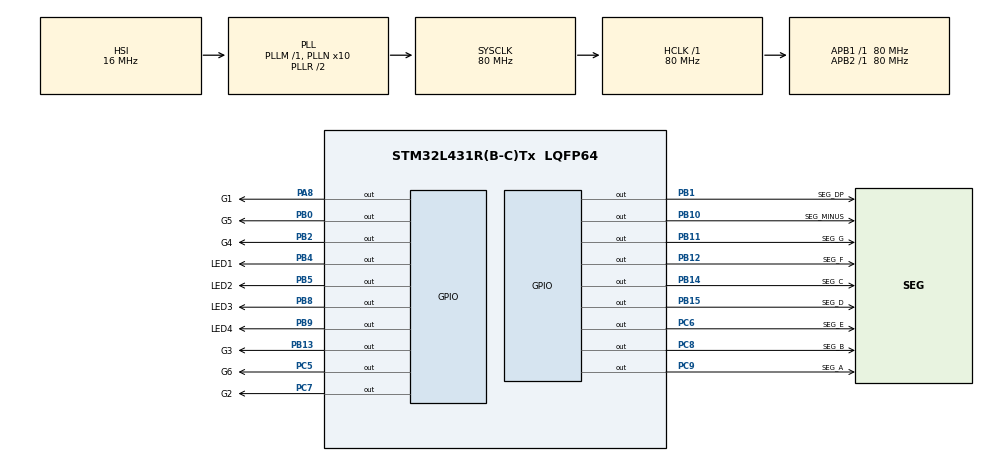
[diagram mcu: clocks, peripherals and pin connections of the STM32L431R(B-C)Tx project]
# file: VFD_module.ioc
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Mcu.Family=STM32L4
Mcu.Name=STM32L431R(B-C)Tx
Mcu.Package=LQFP64
NVIC.PriorityGroup=NVIC_PRIORITYGROUP_4
PA13\ (JTMS-SWDIO).Mode=Trace_Asynchronous_SW
PA13\ (JTMS-SWDIO).Signal=SYS_JTMS-SWDIO
PA14\ (JTCK-SWCLK).Mode=Trace_Asynchronous_SW
PA14\ (JTCK-SWCLK).Signal=SYS_JTCK-SWCLK
PA8.GPIO_Label=G1
PA8.Signal=GPIO_Output
PB0.GPIO_Label=G5
PB0.Signal=GPIO_Output
PB1.GPIO_Label=SEG_DP
PB1.Signal=GPIO_Output
PB10.GPIO_Label=SEG_MINUS
PB10.Signal=GPIO_Output
PB11.GPIO_Label=SEG_G
PB11.Signal=GPIO_Output
PB12.GPIO_Label=SEG_F
PB12.Signal=GPIO_Output
PB13.GPIO_Label=G3
PB13.Signal=GPIO_Output
PB14.GPIO_Label=SEG_C
PB14.Signal=GPIO_Output
PB15.GPIO_Label=SEG_D
PB15.Signal=GPIO_Output
PB2.GPIO_Label=G4
PB2.Signal=GPIO_Output
PB3\ (JTDO-TRACESWO).Mode=Trace_Asynchronous_SW
PB3\ (JTDO-TRACESWO).Signal=SYS_JTDO-SWO
PB4\ (NJTRST).GPIO_Label=LED1
PB4\ (NJTRST).Signal=GPIO_Output
PB5.GPIO_Label=LED2
PB5.Signal=GPIO_Output
PB8.GPIO_Label=LED3
PB8.Signal=GPIO_Output
PB9.GPIO_Label=LED4
PB9.Signal=GPIO_Output
PC14-OSC32_IN\ (PC14).Mode=LSE-External-Oscillator
PC14-OSC32_IN\ (PC14).Signal=RCC_OSC32_IN
PC15-OSC32_OUT\ (PC15).Mode=LSE-External-Oscillator
PC15-OSC32_OUT\ (PC15).Signal=RCC_OSC32_OUT
PC5.GPIO_Label=G6
PC5.Signal=GPIO_Output
PC6.GPIO_Label=SEG_E
PC6.Signal=GPIO_Output
PC7.GPIO_Label=G2
PC7.Signal=GPIO_Output
PC8.GPIO_Label=SEG_B
PC8.Signal=GPIO_Output
PC9.GPIO_Label=SEG_A
PC9.Signal=GPIO_Output
ProjectManager.HeapSize=0x200
ProjectManager.StackSize=0x400
ProjectManager.TargetToolchain=STM32CubeIDE
RCC.ADCFreq_Value=80000000
RCC.AHBFreq_Value=80000000
RCC.APB1Freq_Value=80000000
RCC.APB1TimFreq_Value=80000000
RCC.APB2Freq_Value=80000000
RCC.APB2TimFreq_Value=80000000
RCC.CortexFreq_Value=80000000
RCC.HCLKFreq_Value=80000000
RCC.HSE_VALUE=8000000
RCC.HSI48_VALUE=48000000
RCC.HSI_VALUE=16000000
RCC.MSI_VALUE=4000000
RCC.PLLN=10
RCC.PLLSAI1N=10
RCC.PLLSourceVirtual=RCC_PLLSOURCE_HSI
RCC.RTCClockSelection=RCC_RTCCLKSOURCE_LSE
RCC.SYSCLKFreq_VALUE=80000000
RCC.SYSCLKSource=RCC_SYSCLKSOURCE_PLLCLK
RCC.VCOOutputFreq_Value=160000000
TIM2.Period=0xFFFF
TIM2.Prescaler=79
VP_RTC_VS_RTC_Activate.Mode=RTC_Enabled
VP_TIM2_VS_ClockSourceINT.Mode=Internal
board=custom

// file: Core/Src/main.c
/* USER CODE BEGIN Header */
/**
 ******************************************************************************
 * @file           : main.c
 * @brief          : Main program body
 ******************************************************************************
 * @attention
 *
 * Copyright (c) 2024 STMicroelectronics.
 * All rights reserved.
 *
 * This software is licensed under terms that can be found in the LICENSE file
 * in the root directory of this software component.
 * If no LICENSE file comes with this software, it is provided AS-IS.
 *
 ******************************************************************************
 */
/* USER CODE END Header */
#include "main.h"

RTC_HandleTypeDef hrtc;

TIM_HandleTypeDef htim2;

/* USER CODE BEGIN PV */
uint8_t segmentPatterns[16] = {
		0x3F, // 0: 0111111
		0x06, // 1: 0000110
		0x5B, // 2: 1011011
		0x4F, // 3: 1001111
		0x66, // 4: 1100110
		0x6D, // 5: 1101101
		0x7D, // 6: 1111101
		0x07, // 7: 0000111
		0x7F, // 8: 1111111
		0x6F, // 9: 1101111
		0x77, // A: 1110111
		0x7C, // B: 1111100
		0x39, // C: 0111001
		0x5E, // D: 1011110
		0x79, // E: 1111001
		0x71  // F: 1110001
};
void litBit(uint8_t data){
	HAL_GPIO_WritePin(SEG_A_GPIO_Port, SEG_A_Pin, (data & 0x01) ? GPIO_PIN_SET : GPIO_PIN_RESET);
	HAL_GPIO_WritePin(SEG_B_GPIO_Port, SEG_B_Pin, (data & 0x02) ? GPIO_PIN_SET : GPIO_PIN_RESET);
	HAL_GPIO_WritePin(SEG_C_GPIO_Port, SEG_C_Pin, (data & 0x04) ? GPIO_PIN_SET : GPIO_PIN_RESET);
	HAL_GPIO_WritePin(SEG_D_GPIO_Port, SEG_D_Pin, (data & 0x08) ? GPIO_PIN_SET : GPIO_PIN_RESET);
	HAL_GPIO_WritePin(SEG_E_GPIO_Port, SEG_E_Pin, (data & 0x10) ? GPIO_PIN_SET : GPIO_PIN_RESET);
	HAL_GPIO_WritePin(SEG_F_GPIO_Port, SEG_F_Pin, (data & 0x20) ? GPIO_PIN_SET : GPIO_PIN_RESET);
	HAL_GPIO_WritePin(SEG_G_GPIO_Port, SEG_G_Pin, (data & 0x40) ? GPIO_PIN_SET : GPIO_PIN_RESET);
	HAL_GPIO_WritePin(SEG_DP_GPIO_Port, SEG_DP_Pin, (data & 0x80) ? GPIO_PIN_SET : GPIO_PIN_RESET);
}

void displayNumber(uint8_t number){
	if (0 <= number && number <= 0x0F){
		litBit(segmentPatterns[number]);
	}
}

void enableDigit(uint8_t digit){
	switch(digit){
	case 0:
		HAL_GPIO_WritePin(G1_GPIO_Port, G1_Pin, GPIO_PIN_SET);
		break;
	case 1:
		HAL_GPIO_WritePin(G2_GPIO_Port, G2_Pin, GPIO_PIN_SET);
		break;
	case 2:
		HAL_GPIO_WritePin(G3_GPIO_Port, G3_Pin, GPIO_PIN_SET);
		break;
	case 3:
		HAL_GPIO_WritePin(G4_GPIO_Port, G4_Pin, GPIO_PIN_SET);
		break;
	case 4:
		HAL_GPIO_WritePin(G5_GPIO_Port, G5_Pin, GPIO_PIN_SET);
		break;
	case 5:
		HAL_GPIO_WritePin(G6_GPIO_Port, G6_Pin, GPIO_PIN_SET);
		break;
	}
}

void disableDigit(uint8_t digit){
	switch(digit){
	case 0:
		HAL_GPIO_WritePin(G1_GPIO_Port, G1_Pin, GPIO_PIN_RESET);
		break;
	case 1:
		HAL_GPIO_WritePin(G2_GPIO_Port, G2_Pin, GPIO_PIN_RESET);
		break;
	case 2:
		HAL_GPIO_WritePin(G3_GPIO_Port, G3_Pin, GPIO_PIN_RESET);
		break;
	case 3:
		HAL_GPIO_WritePin(G4_GPIO_Port, G4_Pin, GPIO_PIN_RESET);
		break;
	case 4:
		HAL_GPIO_WritePin(G5_GPIO_Port, G5_Pin, GPIO_PIN_RESET);
		break;
	case 5:
		HAL_GPIO_WritePin(G6_GPIO_Port, G6_Pin, GPIO_PIN_RESET);
		break;
	}
}

void disableAllDigit(){
	HAL_GPIO_WritePin(G1_GPIO_Port, G1_Pin, GPIO_PIN_RESET);
	HAL_GPIO_WritePin(G2_GPIO_Port, G2_Pin, GPIO_PIN_RESET);
	HAL_GPIO_WritePin(G3_GPIO_Port, G3_Pin, GPIO_PIN_RESET);
	HAL_GPIO_WritePin(G4_GPIO_Port, G4_Pin, GPIO_PIN_RESET);
	HAL_GPIO_WritePin(G5_GPIO_Port, G5_Pin, GPIO_PIN_RESET);
	HAL_GPIO_WritePin(G6_GPIO_Port, G6_Pin, GPIO_PIN_RESET);

	HAL_GPIO_WritePin(SEG_A_GPIO_Port, SEG_A_Pin, GPIO_PIN_RESET);
	HAL_GPIO_WritePin(SEG_B_GPIO_Port, SEG_B_Pin,  GPIO_PIN_RESET);
	HAL_GPIO_WritePin(SEG_C_GPIO_Port, SEG_C_Pin,  GPIO_PIN_RESET);
	HAL_GPIO_WritePin(SEG_D_GPIO_Port, SEG_D_Pin,  GPIO_PIN_RESET);
	HAL_GPIO_WritePin(SEG_E_GPIO_Port, SEG_E_Pin,  GPIO_PIN_RESET);
	HAL_GPIO_WritePin(SEG_F_GPIO_Port, SEG_F_Pin,  GPIO_PIN_RESET);
	HAL_GPIO_WritePin(SEG_G_GPIO_Port, SEG_G_Pin,  GPIO_PIN_RESET);
	HAL_GPIO_WritePin(SEG_DP_GPIO_Port, SEG_DP_Pin,  GPIO_PIN_RESET);
}

void Delay_us(uint16_t us)
{
    __HAL_TIM_SET_COUNTER(&htim2, 0);  // Set the counter value to 0
    HAL_TIM_Base_Start(&htim2);  // Start the timer
    while (__HAL_TIM_GET_COUNTER(&htim2) < us);  // Wait until the counter reaches the us input value
    HAL_TIM_Base_Stop(&htim2);  // Stop the timer
}

/* USER CODE END PV */

void SystemClock_Config(void);
static void MX_GPIO_Init(void);
static void MX_RTC_Init(void);
static void MX_TIM2_Init(void);

int main(void)
{

  /* MCU Configuration--------------------------------------------------------*/

  /* Reset of all peripherals, Initializes the Flash interface and the Systick. */
  HAL_Init();

  /* Configure the system clock */
  SystemClock_Config();

  /* Initialize all configured peripherals */
  MX_GPIO_Init();
  MX_RTC_Init();
  MX_TIM2_Init();

  /* Infinite loop */
  /* USER CODE BEGIN WHILE */
	uint8_t ct = 0;
	RTC_DateTypeDef gDate;
	RTC_TimeTypeDef gTime;
	disableAllDigit();
#define DIGIT_DELAY 1
#define DIGIT_DELAY_US 200
#define DISABLE_DELAY_US 10
	while (1)
	{
    /* USER CODE END WHILE */

    /* USER CODE BEGIN 3 */
		HAL_RTC_GetTime(&hrtc, &gTime, RTC_FORMAT_BIN);
		HAL_RTC_GetDate(&hrtc, &gDate, RTC_FORMAT_BCD);

		disableDigit(5); enableDigit(0);
		displayNumber(gTime.Hours / 10);
		Delay_us(DIGIT_DELAY_US);
		disableAllDigit();
		Delay_us(DISABLE_DELAY_US);

		disableDigit(0); enableDigit(1);
		displayNumber(gTime.Hours % 10);
		Delay_us(DIGIT_DELAY_US);
		disableAllDigit();
		Delay_us(DISABLE_DELAY_US);

		disableDigit(1); enableDigit(2);
		displayNumber(gTime.Minutes / 10);
		Delay_us(DIGIT_DELAY_US);
		disableAllDigit();
		Delay_us(DISABLE_DELAY_US);

		disableDigit(2); enableDigit(3);
		displayNumber(gTime.Minutes % 10);
		Delay_us(DIGIT_DELAY_US);
		disableAllDigit();
		Delay_us(DISABLE_DELAY_US);

		disableDigit(3); enableDigit(4);
		displayNumber(gTime.Seconds / 10);
		Delay_us(DIGIT_DELAY_US);
		disableAllDigit();
		Delay_us(DISABLE_DELAY_US);

		disableDigit(4); enableDigit(5);
		displayNumber(gTime.Seconds % 10);
		Delay_us(DIGIT_DELAY_US);
		disableAllDigit();
		Delay_us(DISABLE_DELAY_US);

	}
  /* USER CODE END 3 */
}

void SystemClock_Config(void)
{
  RCC_OscInitTypeDef RCC_OscInitStruct = {0};
  RCC_ClkInitTypeDef RCC_ClkInitStruct = {0};

  /** Configure the main internal regulator output voltage
  */
  if (HAL_PWREx_ControlVoltageScaling(PWR_REGULATOR_VOLTAGE_SCALE1) != HAL_OK)
  {
    Error_Handler();
  }

  /** Configure LSE Drive Capability
  */
  HAL_PWR_EnableBkUpAccess();
  __HAL_RCC_LSEDRIVE_CONFIG(RCC_LSEDRIVE_LOW);

  /** Initializes the RCC Oscillators according to the specified parameters
  * in the RCC_OscInitTypeDef structure.
  */
  RCC_OscInitStruct.OscillatorType = RCC_OSCILLATORTYPE_HSI|RCC_OSCILLATORTYPE_LSE;
  RCC_OscInitStruct.LSEState = RCC_LSE_ON;
  RCC_OscInitStruct.HSIState = RCC_HSI_ON;
  RCC_OscInitStruct.HSICalibrationValue = RCC_HSICALIBRATION_DEFAULT;
  RCC_OscInitStruct.PLL.PLLState = RCC_PLL_ON;
  RCC_OscInitStruct.PLL.PLLSource = RCC_PLLSOURCE_HSI;
  RCC_OscInitStruct.PLL.PLLM = 1;
  RCC_OscInitStruct.PLL.PLLN = 10;
  RCC_OscInitStruct.PLL.PLLP = RCC_PLLP_DIV7;
  RCC_OscInitStruct.PLL.PLLQ = RCC_PLLQ_DIV2;
  RCC_OscInitStruct.PLL.PLLR = RCC_PLLR_DIV2;
  if (HAL_RCC_OscConfig(&RCC_OscInitStruct) != HAL_OK)
  {
    Error_Handler();
  }

  /** Initializes the CPU, AHB and APB buses clocks
  */
  RCC_ClkInitStruct.ClockType = RCC_CLOCKTYPE_HCLK|RCC_CLOCKTYPE_SYSCLK
                              |RCC_CLOCKTYPE_PCLK1|RCC_CLOCKTYPE_PCLK2;
  RCC_ClkInitStruct.SYSCLKSource = RCC_SYSCLKSOURCE_PLLCLK;
  RCC_ClkInitStruct.AHBCLKDivider = RCC_SYSCLK_DIV1;
  RCC_ClkInitStruct.APB1CLKDivider = RCC_HCLK_DIV1;
  RCC_ClkInitStruct.APB2CLKDivider = RCC_HCLK_DIV1;

  if (HAL_RCC_ClockConfig(&RCC_ClkInitStruct, FLASH_LATENCY_4) != HAL_OK)
  {
    Error_Handler();
  }
}

static void MX_RTC_Init(void)
{

  /** Initialize RTC Only
  */
  hrtc.Instance = RTC;
  hrtc.Init.HourFormat = RTC_HOURFORMAT_24;
  hrtc.Init.AsynchPrediv = 127;
  hrtc.Init.SynchPrediv = 255;
  hrtc.Init.OutPut = RTC_OUTPUT_DISABLE;
  hrtc.Init.OutPutRemap = RTC_OUTPUT_REMAP_NONE;
  hrtc.Init.OutPutPolarity = RTC_OUTPUT_POLARITY_HIGH;
  hrtc.Init.OutPutType = RTC_OUTPUT_TYPE_OPENDRAIN;
  if (HAL_RTC_Init(&hrtc) != HAL_OK)
  {
    Error_Handler();
  }
  /* USER CODE BEGIN RTC_Init 2 */
#define MAGIC_NO 0x1208

	if(HAL_RTCEx_BKUPRead(&hrtc, RTC_BKP_DR0) != MAGIC_NO)
	{
		RTC_TimeTypeDef sTime = {0};
		RTC_DateTypeDef sDate = {0};

		sTime.Hours = 15;
		sTime.Minutes = 17;
		sTime.Seconds = 50;
		if (HAL_RTC_SetTime(&hrtc, &sTime, RTC_FORMAT_BIN) != HAL_OK)
		{
			Error_Handler();
		}
		sDate.WeekDay = RTC_WEEKDAY_SATURDAY;
		sDate.Month = RTC_MONTH_JUNE;
		sDate.Date = 06;
		sDate.Year = 24;
		if (HAL_RTC_SetDate(&hrtc, &sDate, RTC_FORMAT_BIN) != HAL_OK)
		{
			Error_Handler();

		}
		HAL_RTCEx_BKUPWrite(&hrtc, RTC_BKP_DR0, MAGIC_NO);
	}
  /* USER CODE END RTC_Init 2 */

}

static void MX_TIM2_Init(void)
{

  TIM_ClockConfigTypeDef sClockSourceConfig = {0};
  TIM_MasterConfigTypeDef sMasterConfig = {0};

  htim2.Instance = TIM2;
  htim2.Init.Prescaler = 79;
  htim2.Init.CounterMode = TIM_COUNTERMODE_UP;
  htim2.Init.Period = 0xFFFF;
  htim2.Init.ClockDivision = TIM_CLOCKDIVISION_DIV1;
  htim2.Init.AutoReloadPreload = TIM_AUTORELOAD_PRELOAD_DISABLE;
  if (HAL_TIM_Base_Init(&htim2) != HAL_OK)
  {
    Error_Handler();
  }
  sClockSourceConfig.ClockSource = TIM_CLOCKSOURCE_INTERNAL;
  if (HAL_TIM_ConfigClockSource(&htim2, &sClockSourceConfig) != HAL_OK)
  {
    Error_Handler();
  }
  sMasterConfig.MasterOutputTrigger = TIM_TRGO_RESET;
  sMasterConfig.MasterSlaveMode = TIM_MASTERSLAVEMODE_DISABLE;
  if (HAL_TIMEx_MasterConfigSynchronization(&htim2, &sMasterConfig) != HAL_OK)
  {
    Error_Handler();
  }

}

static void MX_GPIO_Init(void)
{
  GPIO_InitTypeDef GPIO_InitStruct = {0};

  /* GPIO Ports Clock Enable */
  __HAL_RCC_GPIOC_CLK_ENABLE();
  __HAL_RCC_GPIOB_CLK_ENABLE();
  __HAL_RCC_GPIOA_CLK_ENABLE();

  /*Configure GPIO pin Output Level */
  HAL_GPIO_WritePin(GPIOC, G6_Pin|SEG_E_Pin|G2_Pin|SEG_B_Pin
                          |SEG_A_Pin, GPIO_PIN_RESET);

  /*Configure GPIO pin Output Level */
  HAL_GPIO_WritePin(GPIOB, G5_Pin|SEG_DP_Pin|G4_Pin|SEG_MINUS_Pin
                          |SEG_G_Pin|SEG_F_Pin|G3_Pin|SEG_C_Pin
                          |SEG_D_Pin|LED1_Pin|LED2_Pin|LED3_Pin
                          |LED4_Pin, GPIO_PIN_RESET);

  /*Configure GPIO pin Output Level */
  HAL_GPIO_WritePin(G1_GPIO_Port, G1_Pin, GPIO_PIN_RESET);

  /*Configure GPIO pins : G6_Pin SEG_E_Pin G2_Pin SEG_B_Pin
                           SEG_A_Pin */
  GPIO_InitStruct.Pin = G6_Pin|SEG_E_Pin|G2_Pin|SEG_B_Pin
                          |SEG_A_Pin;
  GPIO_InitStruct.Mode = GPIO_MODE_OUTPUT_PP;
  GPIO_InitStruct.Pull = GPIO_NOPULL;
  GPIO_InitStruct.Speed = GPIO_SPEED_FREQ_LOW;
  HAL_GPIO_Init(GPIOC, &GPIO_InitStruct);

  /*Configure GPIO pins : G5_Pin SEG_DP_Pin G4_Pin SEG_MINUS_Pin
                           SEG_G_Pin SEG_F_Pin G3_Pin SEG_C_Pin
                           SEG_D_Pin LED1_Pin LED2_Pin LED3_Pin
                           LED4_Pin */
  GPIO_InitStruct.Pin = G5_Pin|SEG_DP_Pin|G4_Pin|SEG_MINUS_Pin
                          |SEG_G_Pin|SEG_F_Pin|G3_Pin|SEG_C_Pin
                          |SEG_D_Pin|LED1_Pin|LED2_Pin|LED3_Pin
                          |LED4_Pin;
  GPIO_InitStruct.Mode = GPIO_MODE_OUTPUT_PP;
  GPIO_InitStruct.Pull = GPIO_NOPULL;
  GPIO_InitStruct.Speed = GPIO_SPEED_FREQ_LOW;
  HAL_GPIO_Init(GPIOB, &GPIO_InitStruct);

  /*Configure GPIO pin : G1_Pin */
  GPIO_InitStruct.Pin = G1_Pin;
  GPIO_InitStruct.Mode = GPIO_MODE_OUTPUT_PP;
  GPIO_InitStruct.Pull = GPIO_NOPULL;
  GPIO_InitStruct.Speed = GPIO_SPEED_FREQ_LOW;
  HAL_GPIO_Init(G1_GPIO_Port, &GPIO_InitStruct);

}

void Error_Handler(void)
{
	__disable_irq();
	while (1)
	{
	}
}
